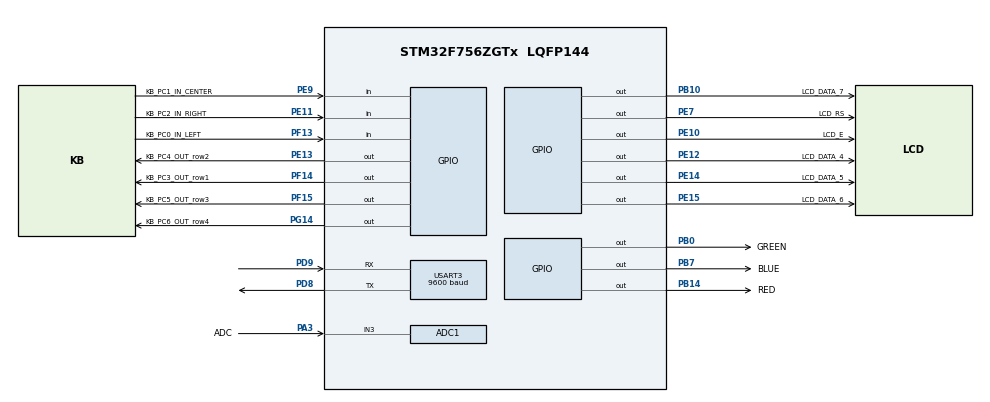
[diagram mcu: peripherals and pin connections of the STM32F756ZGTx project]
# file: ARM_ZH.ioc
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ADC1.Channel-0\#ChannelRegularConversion=ADC_CHANNEL_3
ADC1.NbrOfConversionFlag=1
ADC1.Rank-0\#ChannelRegularConversion=1
ADC1.SamplingTime-0\#ChannelRegularConversion=ADC_SAMPLETIME_3CYCLES
ADC1.master=1
Mcu.Family=STM32F7
Mcu.Name=STM32F756ZGTx
Mcu.Package=LQFP144
NVIC.PriorityGroup=NVIC_PRIORITYGROUP_4
NVIC.USART3_IRQn=true\:0\:0\:false\:false\:true\:true\:true
PA3.GPIO_Label=ADC
PA3.Signal=ADCx_IN3
PB0.GPIO_Label=GREEN
PB0.Signal=GPIO_Output
PB10.GPIO_Label=LCD_DATA_7
PB10.Signal=GPIO_Output
PB14.GPIO_Label=RED
PB14.Signal=GPIO_Output
PB7.GPIO_Label=BLUE
PB7.Signal=GPIO_Output
PD8.Mode=Asynchronous
PD8.Signal=USART3_TX
PD9.Mode=Asynchronous
PD9.Signal=USART3_RX
PE10.GPIO_Label=LCD_E
PE10.Signal=GPIO_Output
PE11.GPIO_Label=KB_PC2_IN_RIGHT
PE11.Signal=GPIO_Input
PE12.GPIO_Label=LCD_DATA_4
PE12.Signal=GPIO_Output
PE13.GPIO_Label=KB_PC4_OUT_row2
PE13.Signal=GPIO_Output
PE14.GPIO_Label=LCD_DATA_5
PE14.Signal=GPIO_Output
PE15.GPIO_Label=LCD_DATA_6
PE15.Signal=GPIO_Output
PE7.GPIO_Label=LCD_RS
PE7.Signal=GPIO_Output
PE9.GPIO_Label=KB_PC1_IN_CENTER
PE9.Signal=GPIO_Input
PF13.GPIO_Label=KB_PC0_IN_LEFT
PF13.Signal=GPIO_Input
PF14.GPIO_Label=KB_PC3_OUT_row1
PF14.Signal=GPIO_Output
PF15.GPIO_Label=KB_PC5_OUT_row3
PF15.Signal=GPIO_Output
PG14.GPIO_Label=KB_PC6_OUT_row4
PG14.Signal=GPIO_Output
ProjectManager.HeapSize=0x200
ProjectManager.StackSize=0x400
ProjectManager.TargetToolchain=STM32CubeIDE
RCC.HSE_VALUE=25000000
RCC.HSI_VALUE=16000000
RCC.LSE_VALUE=32768
RCC.USBFreq_Value=96000000
RCC.VCOOutputFreq_Value=192000000
SH.ADCx_IN3.0=ADC1_IN3,IN3
USART3.BaudRate=9600
USART3.VirtualMode-Asynchronous=VM_ASYNC
board=custom

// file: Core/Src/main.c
/* USER CODE BEGIN Header */
/**
  ******************************************************************************
  * @file           : main.c
  * @brief          : Main program body
  ******************************************************************************
  * @attention
  *
  * <h2><center>&copy; Copyright (c) 2021 STMicroelectronics.
  * All rights reserved.</center></h2>
  *
  * This software component is licensed by ST under BSD 3-Clause license,
  * the "License"; You may not use this file except in compliance with the
  * License. You may obtain a copy of the License at:
  *                        opensource.org/licenses/BSD-3-Clause
  *
  ******************************************************************************
  */
/* USER CODE END Header */
#include "main.h"

/* USER CODE BEGIN Includes */
#include "lcd.h"
#include "matrix.h"
#include <String.h>
#include <stdio.h>

/* USER CODE END Includes */

ADC_HandleTypeDef hadc1;

UART_HandleTypeDef huart3;

/* USER CODE BEGIN PV */

uint8_t dobas = 0;
uint8_t jatekos = 1;
uint8_t kor = 0;

uint16_t player_1_score = 0;
uint16_t player_2_score = 0;

char row1[14] = {'5',48,'6',48,'7',48,'8',48,'9',48,'0','B',48,'\0'};
char row2[14] = {'5',48,'6',48,'7',48,'8',48,'9',48,'0','B',48,'\0'};

uint8_t dupla = 0;
uint8_t tripla = 0;

/* USER CODE END PV */

void SystemClock_Config(void);
static void MX_GPIO_Init(void);
static void MX_ADC1_Init(void);
static void MX_USART3_UART_Init(void);
/* USER CODE BEGIN PFP */

void LCD_ki()
{

	  LCD_cmd(0x01);

	  LCD_xy(0,1);
	  LCD_string("P1");

	  LCD_xy(0,3);
	  LCD_string("P2");

	  LCD_xy(0,2);
	  LCD_num(player_1_score);

	  LCD_xy(0,4);
	  LCD_num(player_2_score);

	  LCD_xy(5,1);
	  LCD_num(dobas);
	  LCD_num(kor);
	  LCD_xy(11,1);

	  if(dobas == 3)
	  {

		  if(jatekos == 1)
		  {
			  jatekos = 2;
			  dobas = 0;
			  LCD_xy(2,1);
			  LCD_data(' ');
		  }
		  else
		  {
			  kor++;
			  jatekos = 1;
			  dobas = 0;
			  LCD_xy(2,3);
			  LCD_data(' ');
		  }
	  }

	  if(jatekos == 1)
	  {
		  LCD_xy(2,1);
		  LCD_data('<');
	  }
	  else
	  {
		  LCD_xy(2,3);
		  LCD_data('<');
	  }

	 /* LCD_xy(3,2);
	  LCD_string(row1);

	  LCD_xy(3,4);
	  LCD_string(row1);*/
}

/* USER CODE END PFP */

int main(void)
{

  /* MCU Configuration--------------------------------------------------------*/

  /* Reset of all peripherals, Initializes the Flash interface and the Systick. */
  HAL_Init();

  /* Configure the system clock */
  SystemClock_Config();

  /* Initialize all configured peripherals */
  MX_GPIO_Init();
  MX_ADC1_Init();
  MX_USART3_UART_Init();
  /* USER CODE BEGIN 2 */

  LCD_init();

  LCD_ki();

  /* USER CODE END 2 */

  /* Infinite loop */
  /* USER CODE BEGIN WHILE */
  while (1)
  {
	  matrix_search();
	  uint8_t key = get_key();

	  if(key<12)
	  {
		  switch(key)
		  {
			  case 0:
				  dobas++;
				  LCD_ki();
				  break;
			  case 1:
				  dobas++;
				  LCD_ki();
				  break;

			  case 2:
				  dobas++;
				  if(jatekos == 1)
				  {
					  if(dupla == 1)
					  {
						  dupla = 0;
						  row1[1]+=2;
					  }
					  else
					  {
						if(tripla == 1)
						{
							  tripla = 0;
							  row1[1]+=3;
						}
						else
						{
							row1[1]++;
						}
					  }
				  }
				  else
				  {
					  if(dupla == 1)
					  {
						  dupla = 0;
						  row2[1]+=2;
					  }
					  else
					  {
						if(tripla == 1)
						{
							  tripla = 0;
							  row2[1]+=3;
						}
						else
						{
							row2[1]++;
						}
					  }
				  }
				  LCD_ki();
				  break;

			  case 3:
				  dobas++;

				  LCD_ki();
				  break;

			  case 4:
				  dobas++;

				  LCD_ki();
				  break;

			  case 5:
				  dobas++;

				  LCD_ki();
				  break;

			  case 6:
				  dobas++;

				  LCD_ki();
				  break;

			  case 7:
				  dobas++;

				  LCD_ki();
				  break;

			  case 8:
				  dupla = 1;
				  LCD_xy(11,1);
				  LCD_data('D');

				  break;
			  case 9:
				  tripla = 1;
				  LCD_xy(11,1);
				  LCD_data('T');
				  break;
			  case 10:

				  break;
			  case 11:
				  break;
		  }
	  }
    /* USER CODE END WHILE */

  }
}

void SystemClock_Config(void)
{
  RCC_OscInitTypeDef RCC_OscInitStruct = {0};
  RCC_ClkInitTypeDef RCC_ClkInitStruct = {0};
  RCC_PeriphCLKInitTypeDef PeriphClkInitStruct = {0};

  /** Configure the main internal regulator output voltage
  */
  __HAL_RCC_PWR_CLK_ENABLE();
  __HAL_PWR_VOLTAGESCALING_CONFIG(PWR_REGULATOR_VOLTAGE_SCALE3);
  /** Initializes the RCC Oscillators according to the specified parameters
  * in the RCC_OscInitTypeDef structure.
  */
  RCC_OscInitStruct.OscillatorType = RCC_OSCILLATORTYPE_HSI;
  RCC_OscInitStruct.HSIState = RCC_HSI_ON;
  RCC_OscInitStruct.HSICalibrationValue = RCC_HSICALIBRATION_DEFAULT;
  RCC_OscInitStruct.PLL.PLLState = RCC_PLL_NONE;
  if (HAL_RCC_OscConfig(&RCC_OscInitStruct) != HAL_OK)
  {
    Error_Handler();
  }
  /** Initializes the CPU, AHB and APB buses clocks
  */
  RCC_ClkInitStruct.ClockType = RCC_CLOCKTYPE_HCLK|RCC_CLOCKTYPE_SYSCLK
                              |RCC_CLOCKTYPE_PCLK1|RCC_CLOCKTYPE_PCLK2;
  RCC_ClkInitStruct.SYSCLKSource = RCC_SYSCLKSOURCE_HSI;
  RCC_ClkInitStruct.AHBCLKDivider = RCC_SYSCLK_DIV1;
  RCC_ClkInitStruct.APB1CLKDivider = RCC_HCLK_DIV1;
  RCC_ClkInitStruct.APB2CLKDivider = RCC_HCLK_DIV1;

  if (HAL_RCC_ClockConfig(&RCC_ClkInitStruct, FLASH_LATENCY_0) != HAL_OK)
  {
    Error_Handler();
  }
  PeriphClkInitStruct.PeriphClockSelection = RCC_PERIPHCLK_USART3;
  PeriphClkInitStruct.Usart3ClockSelection = RCC_USART3CLKSOURCE_PCLK1;
  if (HAL_RCCEx_PeriphCLKConfig(&PeriphClkInitStruct) != HAL_OK)
  {
    Error_Handler();
  }
}

static void MX_ADC1_Init(void)
{

  ADC_ChannelConfTypeDef sConfig = {0};

  /** Configure the global features of the ADC (Clock, Resolution, Data Alignment and number of conversion)
  */
  hadc1.Instance = ADC1;
  hadc1.Init.ClockPrescaler = ADC_CLOCK_SYNC_PCLK_DIV2;
  hadc1.Init.Resolution = ADC_RESOLUTION_12B;
  hadc1.Init.ScanConvMode = ADC_SCAN_DISABLE;
  hadc1.Init.ContinuousConvMode = DISABLE;
  hadc1.Init.DiscontinuousConvMode = DISABLE;
  hadc1.Init.ExternalTrigConvEdge = ADC_EXTERNALTRIGCONVEDGE_NONE;
  hadc1.Init.ExternalTrigConv = ADC_SOFTWARE_START;
  hadc1.Init.DataAlign = ADC_DATAALIGN_RIGHT;
  hadc1.Init.NbrOfConversion = 1;
  hadc1.Init.DMAContinuousRequests = DISABLE;
  hadc1.Init.EOCSelection = ADC_EOC_SINGLE_CONV;
  if (HAL_ADC_Init(&hadc1) != HAL_OK)
  {
    Error_Handler();
  }
  /** Configure for the selected ADC regular channel its corresponding rank in the sequencer and its sample time.
  */
  sConfig.Channel = ADC_CHANNEL_3;
  sConfig.Rank = ADC_REGULAR_RANK_1;
  sConfig.SamplingTime = ADC_SAMPLETIME_3CYCLES;
  if (HAL_ADC_ConfigChannel(&hadc1, &sConfig) != HAL_OK)
  {
    Error_Handler();
  }

}

static void MX_USART3_UART_Init(void)
{

  huart3.Instance = USART3;
  huart3.Init.BaudRate = 9600;
  huart3.Init.WordLength = UART_WORDLENGTH_8B;
  huart3.Init.StopBits = UART_STOPBITS_1;
  huart3.Init.Parity = UART_PARITY_NONE;
  huart3.Init.Mode = UART_MODE_TX_RX;
  huart3.Init.HwFlowCtl = UART_HWCONTROL_NONE;
  huart3.Init.OverSampling = UART_OVERSAMPLING_16;
  huart3.Init.OneBitSampling = UART_ONE_BIT_SAMPLE_DISABLE;
  huart3.AdvancedInit.AdvFeatureInit = UART_ADVFEATURE_NO_INIT;
  if (HAL_UART_Init(&huart3) != HAL_OK)
  {
    Error_Handler();
  }

}

static void MX_GPIO_Init(void)
{
  GPIO_InitTypeDef GPIO_InitStruct = {0};

  /* GPIO Ports Clock Enable */
  __HAL_RCC_GPIOA_CLK_ENABLE();
  __HAL_RCC_GPIOB_CLK_ENABLE();
  __HAL_RCC_GPIOF_CLK_ENABLE();
  __HAL_RCC_GPIOE_CLK_ENABLE();
  __HAL_RCC_GPIOD_CLK_ENABLE();
  __HAL_RCC_GPIOG_CLK_ENABLE();

  /*Configure GPIO pin Output Level */
  HAL_GPIO_WritePin(GPIOB, GREEN_Pin|LCD_DATA_7_Pin|RED_Pin|BLUE_Pin, GPIO_PIN_RESET);

  /*Configure GPIO pin Output Level */
  HAL_GPIO_WritePin(GPIOF, KB_PC3_OUT_row1_Pin|KB_PC5_OUT_row3_Pin, GPIO_PIN_RESET);

  /*Configure GPIO pin Output Level */
  HAL_GPIO_WritePin(GPIOE, LCD_RS_Pin|LCD_E_Pin|LCD_DATA_4_Pin|KB_PC4_OUT_row2_Pin
                          |LCD_DATA_5_Pin|LCD_DATA_6_Pin, GPIO_PIN_RESET);

  /*Configure GPIO pin Output Level */
  HAL_GPIO_WritePin(KB_PC6_OUT_row4_GPIO_Port, KB_PC6_OUT_row4_Pin, GPIO_PIN_RESET);

  /*Configure GPIO pins : GREEN_Pin LCD_DATA_7_Pin RED_Pin BLUE_Pin */
  GPIO_InitStruct.Pin = GREEN_Pin|LCD_DATA_7_Pin|RED_Pin|BLUE_Pin;
  GPIO_InitStruct.Mode = GPIO_MODE_OUTPUT_PP;
  GPIO_InitStruct.Pull = GPIO_NOPULL;
  GPIO_InitStruct.Speed = GPIO_SPEED_FREQ_LOW;
  HAL_GPIO_Init(GPIOB, &GPIO_InitStruct);

  /*Configure GPIO pin : KB_PC0_IN_LEFT_Pin */
  GPIO_InitStruct.Pin = KB_PC0_IN_LEFT_Pin;
  GPIO_InitStruct.Mode = GPIO_MODE_INPUT;
  GPIO_InitStruct.Pull = GPIO_NOPULL;
  HAL_GPIO_Init(KB_PC0_IN_LEFT_GPIO_Port, &GPIO_InitStruct);

  /*Configure GPIO pins : KB_PC3_OUT_row1_Pin KB_PC5_OUT_row3_Pin */
  GPIO_InitStruct.Pin = KB_PC3_OUT_row1_Pin|KB_PC5_OUT_row3_Pin;
  GPIO_InitStruct.Mode = GPIO_MODE_OUTPUT_PP;
  GPIO_InitStruct.Pull = GPIO_NOPULL;
  GPIO_InitStruct.Speed = GPIO_SPEED_FREQ_LOW;
  HAL_GPIO_Init(GPIOF, &GPIO_InitStruct);

  /*Configure GPIO pins : LCD_RS_Pin LCD_E_Pin LCD_DATA_4_Pin KB_PC4_OUT_row2_Pin
                           LCD_DATA_5_Pin LCD_DATA_6_Pin */
  GPIO_InitStruct.Pin = LCD_RS_Pin|LCD_E_Pin|LCD_DATA_4_Pin|KB_PC4_OUT_row2_Pin
                          |LCD_DATA_5_Pin|LCD_DATA_6_Pin;
  GPIO_InitStruct.Mode = GPIO_MODE_OUTPUT_PP;
  GPIO_InitStruct.Pull = GPIO_NOPULL;
  GPIO_InitStruct.Speed = GPIO_SPEED_FREQ_LOW;
  HAL_GPIO_Init(GPIOE, &GPIO_InitStruct);

  /*Configure GPIO pins : KB_PC1_IN_CENTER_Pin KB_PC2_IN_RIGHT_Pin */
  GPIO_InitStruct.Pin = KB_PC1_IN_CENTER_Pin|KB_PC2_IN_RIGHT_Pin;
  GPIO_InitStruct.Mode = GPIO_MODE_INPUT;
  GPIO_InitStruct.Pull = GPIO_NOPULL;
  HAL_GPIO_Init(GPIOE, &GPIO_InitStruct);

  /*Configure GPIO pin : KB_PC6_OUT_row4_Pin */
  GPIO_InitStruct.Pin = KB_PC6_OUT_row4_Pin;
  GPIO_InitStruct.Mode = GPIO_MODE_OUTPUT_PP;
  GPIO_InitStruct.Pull = GPIO_NOPULL;
  GPIO_InitStruct.Speed = GPIO_SPEED_FREQ_LOW;
  HAL_GPIO_Init(KB_PC6_OUT_row4_GPIO_Port, &GPIO_InitStruct);

}

void Error_Handler(void)
{
  __disable_irq();
  while (1)
  {
  }
}

/************************ (C) COPYRIGHT STMicroelectronics *****END OF FILE****/
